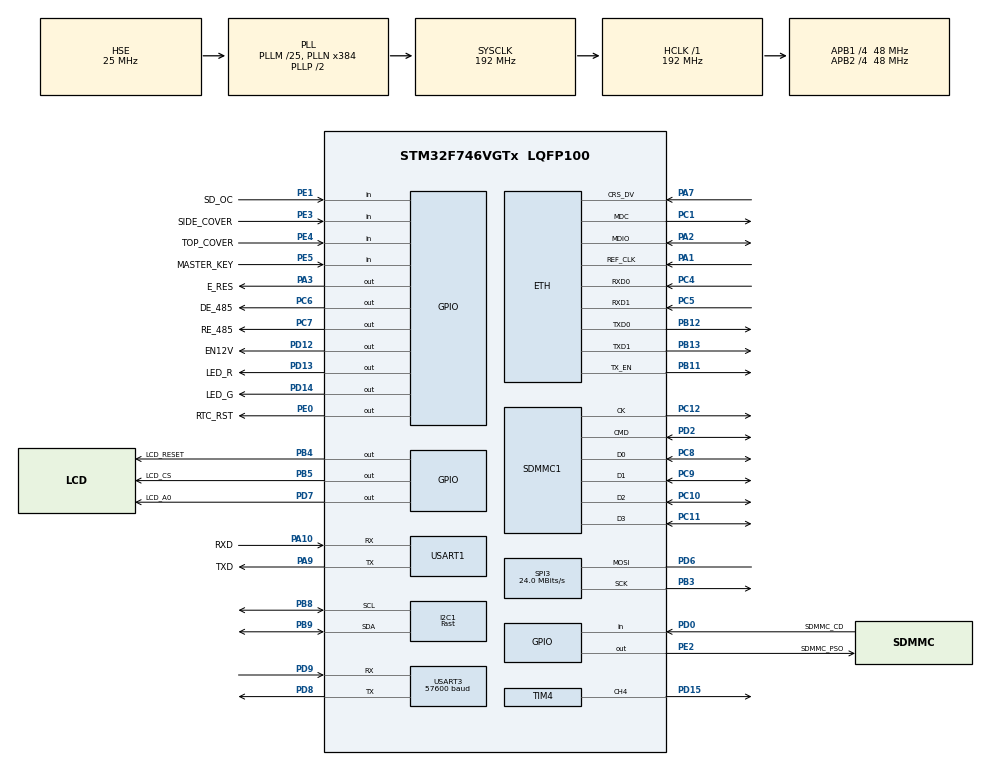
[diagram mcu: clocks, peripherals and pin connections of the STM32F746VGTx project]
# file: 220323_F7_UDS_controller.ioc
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CORTEX_M7.ART_ACCLERATOR_ENABLE=1
CORTEX_M7.AccessPermission-Cortex_Memory_Protection_Unit_Region0_Settings=MPU_REGION_FULL_ACCESS
CORTEX_M7.BaseAddress-Cortex_Memory_Protection_Unit_Region0_Settings=0x20010000
CORTEX_M7.CPU_DCache=Enabled
CORTEX_M7.CPU_ICache=Enabled
CORTEX_M7.Enable-Cortex_Memory_Protection_Unit_Region0_Settings=MPU_REGION_ENABLE
CORTEX_M7.IsCacheable-Cortex_Memory_Protection_Unit_Region0_Settings=MPU_ACCESS_CACHEABLE
CORTEX_M7.MPU_Control=MPU_PRIVILEGED_DEFAULT
CORTEX_M7.PREFETCH_ENABLE=1
CORTEX_M7.Size-Cortex_Memory_Protection_Unit_Region0_Settings=MPU_REGION_SIZE_4KB
ETH.MACAddr=00\:80\:E1\:00\:00\:00
ETH.MediaInterface=ETH_MEDIA_INTERFACE_RMII
ETH.PhyAddress=1
ETH.RxMode=ETH_RXINTERRUPT_MODE
FATFS.BSP.number=1
FATFS0.BSP.STBoard=false
FATFS0.BSP.api=Unknown
FATFS0.BSP.i2caddr=0
FATFS0.BSP.instance=PD0
FATFS0.BSP.ip=GPIO
FATFS0.BSP.mode=Input
FATFS0.BSP.name=Detect_SDIO
FATFS0.BSP.solution=PD0
FREERTOS.HEAP_NUMBER=4
FREERTOS.INCLUDE_vTaskDelayUntil=1
FREERTOS.MEMORY_ALLOCATION=2
FREERTOS.Tasks01=defaultTask,0,512,StartDefaultTask,Default,NULL,Dynamic,NULL,NULL
FREERTOS.configTOTAL_HEAP_SIZE=32000
FREERTOS.configUSE_TIMERS=1
I2C1.I2C_Speed_Mode=I2C_Fast
I2C1.Timing=0x2010091A
IWDG.Prescaler=IWDG_PRESCALER_64
LWIP.DEFAULT_THREAD_STACKSIZE=2048
LWIP.GATEWAY_ADDRESS=192.168.001.100
LWIP.IP_ADDRESS=192.168.001.060
LWIP.LWIP_DHCP=0
LWIP.LWIP_HTTPD=0
LWIP.MEMP_NUM_NETBUF=6
LWIP.MEMP_NUM_NETCONN=8
LWIP.MEMP_NUM_TCPIP_MSG_API=16
LWIP.MEMP_NUM_TCP_PCB=8
LWIP.MEM_SIZE=2048
LWIP.NETMASK_ADDRESS=255.255.255.000
LWIP.SLIPIF_THREAD_STACKSIZE=2048
LWIP.TCPIP_THREAD_STACKSIZE=2048
LWIP.TCP_MSS=720
LWIP.TCP_SND_BUF=1840
LWIP.TCP_WND=4096
LWIP.Version=v2.1.2_Cube
Mcu.Family=STM32F7
Mcu.Name=STM32F746VGTx
Mcu.Package=LQFP100
NVIC.ETH_IRQn=true\:5\:0\:false\:false\:true\:true\:false\:true
NVIC.PriorityGroup=NVIC_PRIORITYGROUP_4
NVIC.TIM5_IRQn=true\:0\:0\:false\:false\:true\:false\:false\:true
NVIC.TimeBase=TIM5_IRQn
NVIC.TimeBaseIP=TIM5
NVIC.USART1_IRQn=true\:5\:0\:false\:false\:true\:true\:true\:true
NVIC.USART3_IRQn=true\:5\:0\:false\:false\:true\:true\:true\:true
PA1.Mode=RMII
PA1.Signal=ETH_REF_CLK
PA10.GPIO_Label=RXD
PA10.Mode=Asynchronous
PA10.Signal=USART1_RX
PA13.Mode=Serial_Wire
PA13.Signal=SYS_JTMS-SWDIO
PA14.Mode=Serial_Wire
PA14.Signal=SYS_JTCK-SWCLK
PA2.Mode=RMII
PA2.Signal=ETH_MDIO
PA3.GPIO_Label=E_RES
PA3.Signal=GPIO_Output
PA7.Mode=RMII
PA7.Signal=ETH_CRS_DV
PA9.GPIO_Label=TXD
PA9.Mode=Asynchronous
PA9.Signal=USART1_TX
PB11.Mode=RMII
PB11.Signal=ETH_TX_EN
PB12.Mode=RMII
PB12.Signal=ETH_TXD0
PB13.Mode=RMII
PB13.Signal=ETH_TXD1
PB3.Mode=Simplex_Bidirectional_Master
PB3.Signal=SPI3_SCK
PB4.GPIO_Label=LCD_RESET
PB4.Signal=GPIO_Output
PB5.GPIO_Label=LCD_CS
PB5.Signal=GPIO_Output
PB8.Mode=I2C
PB8.Signal=I2C1_SCL
PB9.Mode=I2C
PB9.Signal=I2C1_SDA
PC1.Mode=RMII
PC1.Signal=ETH_MDC
PC10.Mode=SD_4_bits_Wide_bus
PC10.Signal=SDMMC1_D2
PC11.Mode=SD_4_bits_Wide_bus
PC11.Signal=SDMMC1_D3
PC12.Mode=SD_4_bits_Wide_bus
PC12.Signal=SDMMC1_CK
PC4.Mode=RMII
PC4.Signal=ETH_RXD0
PC5.Mode=RMII
PC5.Signal=ETH_RXD1
PC6.GPIO_Label=DE_485
PC6.Signal=GPIO_Output
PC7.GPIO_Label=RE_485
PC7.Signal=GPIO_Output
PC8.Mode=SD_4_bits_Wide_bus
PC8.Signal=SDMMC1_D0
PC9.Mode=SD_4_bits_Wide_bus
PC9.Signal=SDMMC1_D1
PD0.GPIO_Label=SDMMC_CD
PD0.Signal=GPIO_Input
PD12.GPIO_Label=EN12V
PD12.Signal=GPIO_Output
PD13.GPIO_Label=LED_R
PD13.Signal=GPIO_Output
PD14.GPIO_Label=LED_G
PD14.Signal=GPIO_Output
PD15.Signal=S_TIM4_CH4
PD2.Mode=SD_4_bits_Wide_bus
PD2.Signal=SDMMC1_CMD
PD6.Mode=Simplex_Bidirectional_Master
PD6.Signal=SPI3_MOSI
PD7.GPIO_Label=LCD_A0
PD7.Signal=GPIO_Output
PD8.Mode=Asynchronous
PD8.Signal=USART3_TX
PD9.Mode=Asynchronous
PD9.Signal=USART3_RX
PE0.GPIO_Label=RTC_RST
PE0.Signal=GPIO_Output
PE1.GPIO_Label=SD_OC
PE1.Signal=GPIO_Input
PE2.GPIO_Label=SDMMC_PSO
PE2.Signal=GPIO_Output
PE3.GPIO_Label=SIDE_COVER
PE3.Signal=GPIO_Input
PE4.GPIO_Label=TOP_COVER
PE4.Signal=GPIO_Input
PE5.GPIO_Label=MASTER_KEY
PE5.Signal=GPIO_Input
PH0/OSC_IN.Mode=HSE-External-Oscillator
PH0/OSC_IN.Signal=RCC_OSC_IN
PH1/OSC_OUT.Mode=HSE-External-Oscillator
PH1/OSC_OUT.Signal=RCC_OSC_OUT
ProjectManager.HeapSize=0x2000
ProjectManager.StackSize=0x4000
ProjectManager.TargetToolchain=MDK-ARM V5
RCC.AHBFreq_Value=192000000
RCC.APB1CLKDivider=RCC_HCLK_DIV4
RCC.APB1Freq_Value=48000000
RCC.APB1TimFreq_Value=96000000
RCC.APB2CLKDivider=RCC_HCLK_DIV4
RCC.APB2Freq_Value=48000000
RCC.APB2TimFreq_Value=96000000
RCC.CortexFreq_Value=192000000
RCC.HCLKFreq_Value=192000000
RCC.HSE_VALUE=25000000
RCC.HSI_VALUE=16000000
RCC.LSE_VALUE=32768
RCC.PLLM=25
RCC.PLLN=384
RCC.PLLQ=8
RCC.PLLSAIP=RCC_PLLSAIP_DIV4
RCC.PLLSourceVirtual=RCC_PLLSOURCE_HSE
RCC.SDMMCClockSelection=RCC_SDMMC1CLKSOURCE_CLK48
RCC.SYSCLKFreq_VALUE=192000000
RCC.SYSCLKSource=RCC_SYSCLKSOURCE_PLLCLK
RCC.USBFreq_Value=48000000
RCC.VCOOutputFreq_Value=384000000
SDMMC1.ClockDiv=6
SH.S_TIM4_CH4.0=TIM4_CH4,PWM Generation4 CH4
SPI3.CalculateBaudRate=24.0 MBits/s
SPI3.DataSize=SPI_DATASIZE_8BIT
SPI3.Direction=SPI_DIRECTION_1LINE
SPI3.Mode=SPI_MODE_MASTER
SPI3.VirtualType=VM_MASTER
TIM4.Channel-PWM\ Generation4\ CH4=TIM_CHANNEL_4
TIM4.Period=500
TIM4.Prescaler=240
USART1.VirtualMode-Asynchronous=VM_ASYNC
USART3.BaudRate=57600
USART3.VirtualMode-Asynchronous=VM_ASYNC
VP_FATFS_VS_SDIO.Mode=SDIO
VP_FREERTOS_VS_CMSIS_V1.Mode=CMSIS_V1
VP_IWDG_VS_IWDG.Mode=IWDG_Activate
VP_LWIP_VS_Enabled.Mode=Enabled
VP_SYS_VS_tim5.Mode=TIM5
VP_TIM4_VS_ClockSourceINT.Mode=Internal
board=custom

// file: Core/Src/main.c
/* USER CODE BEGIN Header */
/**
  ******************************************************************************
  * @file           : main.c
  * @brief          : Main program body
  ******************************************************************************
  * @attention
  *
  * <h2><center>&copy; Copyright (c) 2021 STMicroelectronics.
  * All rights reserved.</center></h2>
  *
  * This software component is licensed by ST under Ultimate Liberty license
  * SLA0044, the "License"; You may not use this file except in compliance with
  * the License. You may obtain a copy of the License at:
  *                             www.st.com/SLA0044
  *
  ******************************************************************************
  */
/* USER CODE END Header */
#include "main.h"
#include "cmsis_os.h"
#include "fatfs.h"
#include "i2c.h"
#include "iwdg.h"
#include "lwip.h"
#include "sdmmc.h"
#include "spi.h"
#include "tim.h"
#include "usart.h"
#include "gpio.h"

/* USER CODE BEGIN Includes */
#include "st7735.h"
#include "DefineFont.h"
#include "delay.h"
#include "stdio.h"
#include "string.h"
#include "flash_memory.h"
/* USER CODE END Includes */

void SystemClock_Config(void);
static void MPU_Config(void);
void MX_FREERTOS_Init(void);

/* USER CODE BEGIN 0 */
char UART3_msg_TX [RS232_BUFFER_SIZE];
char RS485_RXbuffer [RX_BUFFER_SIZE] = {0};
char RS485_TXbuffer [4];

uint8_t cell_state [MAX_SELL+1][5] = {0}; //массив с данными от ячеек
char mod_ip_adress [16]; //ip-адрес в символьной форме (например 192.168.001.060) для регистрации и отображения
/* USER CODE END 0 */

int main(void)
{

  /* MPU Configuration--------------------------------------------------------*/
  MPU_Config();

  /* Enable I-Cache---------------------------------------------------------*/
  SCB_EnableICache();

  /* Enable D-Cache---------------------------------------------------------*/
  SCB_EnableDCache();

  /* MCU Configuration--------------------------------------------------------*/

  /* Reset of all peripherals, Initializes the Flash interface and the Systick. */
  HAL_Init();

  /* Configure the system clock */
  SystemClock_Config();

  /* Initialize all configured peripherals */
  MX_GPIO_Init();
  MX_I2C1_Init();
  MX_USART1_UART_Init();
  MX_USART3_UART_Init();
  MX_SDMMC1_SD_Init();
  MX_FATFS_Init();
  MX_IWDG_Init();
  MX_SPI3_Init();
  MX_TIM4_Init();
  /* USER CODE BEGIN 2 */

	lcdInit();
	ClearLcdMemory();
	LCD_SetFont(Arial_15x17,black);
	LCD_ShowString(5,10,"controller_staring...");
	LCD_Refresh();

	ENABLE_ETHERNET;
	ENABLE_12V;
	RS485_RX; //режим на приём
	ENABLE_SD_CARD;

	if (READ_BIT (RCC->CSR, RCC_CSR_IWDGRSTF)) //если установлен бит IWDGRST (флаг срабатывания IWDG)
  {
		SET_BIT (RCC->CSR, RCC_CSR_RMVF); //сброс флага срабатывания IWDG
  	sprintf (UART3_msg_TX,"UDS_controller_start_after_iwdg_reset\r\n");
  	UART3_SendString ((char*)UART3_msg_TX);
  }
  else
  {
  	sprintf (UART3_msg_TX,"UDS_controller_start\r\n");
		UART3_SendString ((char*)UART3_msg_TX);
  }

  /* USER CODE END 2 */

  /* Call init function for freertos objects (in freertos.c) */
  MX_FREERTOS_Init();
  /* Start scheduler */
  osKernelStart();

  /* We should never get here as control is now taken by the scheduler */
  /* Infinite loop */
  while (1)
  {

  }
}

void SystemClock_Config(void)
{
  RCC_OscInitTypeDef RCC_OscInitStruct = {0};
  RCC_ClkInitTypeDef RCC_ClkInitStruct = {0};
  RCC_PeriphCLKInitTypeDef PeriphClkInitStruct = {0};

  /** Configure the main internal regulator output voltage
  */
  __HAL_RCC_PWR_CLK_ENABLE();
  __HAL_PWR_VOLTAGESCALING_CONFIG(PWR_REGULATOR_VOLTAGE_SCALE1);
  /** Initializes the RCC Oscillators according to the specified parameters
  * in the RCC_OscInitTypeDef structure.
  */
  RCC_OscInitStruct.OscillatorType = RCC_OSCILLATORTYPE_LSI|RCC_OSCILLATORTYPE_HSE;
  RCC_OscInitStruct.HSEState = RCC_HSE_ON;
  RCC_OscInitStruct.LSIState = RCC_LSI_ON;
  RCC_OscInitStruct.PLL.PLLState = RCC_PLL_ON;
  RCC_OscInitStruct.PLL.PLLSource = RCC_PLLSOURCE_HSE;
  RCC_OscInitStruct.PLL.PLLM = 25;
  RCC_OscInitStruct.PLL.PLLN = 384;
  RCC_OscInitStruct.PLL.PLLP = RCC_PLLP_DIV2;
  RCC_OscInitStruct.PLL.PLLQ = 8;
  if (HAL_RCC_OscConfig(&RCC_OscInitStruct) != HAL_OK)
  {
    Error_Handler();
  }
  /** Activate the Over-Drive mode
  */
  if (HAL_PWREx_EnableOverDrive() != HAL_OK)
  {
    Error_Handler();
  }
  /** Initializes the CPU, AHB and APB buses clocks
  */
  RCC_ClkInitStruct.ClockType = RCC_CLOCKTYPE_HCLK|RCC_CLOCKTYPE_SYSCLK
                              |RCC_CLOCKTYPE_PCLK1|RCC_CLOCKTYPE_PCLK2;
  RCC_ClkInitStruct.SYSCLKSource = RCC_SYSCLKSOURCE_PLLCLK;
  RCC_ClkInitStruct.AHBCLKDivider = RCC_SYSCLK_DIV1;
  RCC_ClkInitStruct.APB1CLKDivider = RCC_HCLK_DIV4;
  RCC_ClkInitStruct.APB2CLKDivider = RCC_HCLK_DIV4;

  if (HAL_RCC_ClockConfig(&RCC_ClkInitStruct, FLASH_LATENCY_6) != HAL_OK)
  {
    Error_Handler();
  }
  PeriphClkInitStruct.PeriphClockSelection = RCC_PERIPHCLK_USART1|RCC_PERIPHCLK_USART3
                              |RCC_PERIPHCLK_I2C1|RCC_PERIPHCLK_SDMMC1
                              |RCC_PERIPHCLK_CLK48;
  PeriphClkInitStruct.Usart1ClockSelection = RCC_USART1CLKSOURCE_PCLK2;
  PeriphClkInitStruct.Usart3ClockSelection = RCC_USART3CLKSOURCE_PCLK1;
  PeriphClkInitStruct.I2c1ClockSelection = RCC_I2C1CLKSOURCE_PCLK1;
  PeriphClkInitStruct.Clk48ClockSelection = RCC_CLK48SOURCE_PLL;
  PeriphClkInitStruct.Sdmmc1ClockSelection = RCC_SDMMC1CLKSOURCE_CLK48;
  if (HAL_RCCEx_PeriphCLKConfig(&PeriphClkInitStruct) != HAL_OK)
  {
    Error_Handler();
  }
}

/* MPU Configuration */

void MPU_Config(void)
{
  MPU_Region_InitTypeDef MPU_InitStruct = {0};

  /* Disables the MPU */
  HAL_MPU_Disable();
  /** Initializes and configures the Region and the memory to be protected
  */
  MPU_InitStruct.Enable = MPU_REGION_ENABLE;
  MPU_InitStruct.Number = MPU_REGION_NUMBER0;
  MPU_InitStruct.BaseAddress = 0x20010000;
  MPU_InitStruct.Size = MPU_REGION_SIZE_4KB;
  MPU_InitStruct.SubRegionDisable = 0x0;
  MPU_InitStruct.TypeExtField = MPU_TEX_LEVEL0;
  MPU_InitStruct.AccessPermission = MPU_REGION_FULL_ACCESS;
  MPU_InitStruct.DisableExec = MPU_INSTRUCTION_ACCESS_ENABLE;
  MPU_InitStruct.IsShareable = MPU_ACCESS_NOT_SHAREABLE;
  MPU_InitStruct.IsCacheable = MPU_ACCESS_CACHEABLE;
  MPU_InitStruct.IsBufferable = MPU_ACCESS_NOT_BUFFERABLE;

  HAL_MPU_ConfigRegion(&MPU_InitStruct);
  /* Enables the MPU */
  HAL_MPU_Enable(MPU_PRIVILEGED_DEFAULT);

}
void HAL_TIM_PeriodElapsedCallback(TIM_HandleTypeDef *htim)
{
  if (htim->Instance == TIM5) {
    HAL_IncTick();
  }
}

void Error_Handler(void)
{
  __disable_irq();
  while (1)
  {
  }
}

/************************ (C) COPYRIGHT STMicroelectronics *****END OF FILE****/

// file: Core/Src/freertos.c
/* USER CODE BEGIN Header */
/**
  ******************************************************************************
  * File Name          : freertos.c
  * Description        : Code for freertos applications
  ******************************************************************************
  * @attention
  *
  * <h2><center>&copy; Copyright (c) 2021 STMicroelectronics.
  * All rights reserved.</center></h2>
  *
  * This software component is licensed by ST under Ultimate Liberty license
  * SLA0044, the "License"; You may not use this file except in compliance with
  * the License. You may obtain a copy of the License at:
  *                             www.st.com/SLA0044
  *
  ******************************************************************************
  */
/* USER CODE END Header */

#include "FreeRTOS.h"
#include "task.h"
#include "main.h"
#include "cmsis_os.h"

/* USER CODE BEGIN Includes */
#include "lwip/opt.h"
#include "lwip/arch.h"
#include "lwip/api.h"
#include "lwip/apps/fs.h"
#include "lwip.h"

#include "iwdg.h"
#include "tim.h"
#include "stdio.h"
#include "string.h"
#include "usart.h"
#include "gpio.h"
#include "flash_memory.h"
#include "myWeb.h"
#include "st7735.h"
#include "rtc.h"
/* USER CODE END Includes */

/* USER CODE BEGIN Variables */
extern char UART3_msg_TX [RS232_BUFFER_SIZE];
extern char RS485_TXbuffer [4];
extern uint8_t cell_state [MAX_SELL+1][5];

extern uint8_t IP_ADDRESS[4]; //установленный ip-адрес в виде четырёх uint8_t (lwip.c)
extern char mod_ip_adress [16]; //ip-адрес в символьной форме (например 192.168.001.060) для регистрации и отображения

const char httpHeader[] = "HTTP/1.1 200 OK\nContent-type: text/plain\n\n" ;  // HTTP-заголовок

uint8_t flag_masterkey = 0; //флаг срабатывания мастер ключа
const size_t time_size = 6; //размер буфера для сохранения показателей времени/даты

typedef struct
{
  uint8_t temperature;
  uint8_t RTC_data [time_size];
	} get_RTC_data ; //структура с данными, полученными от микросхемы RTC

char http_send_buffer [400]; //буффер, в который записывается сформированный http-ответ

osTimerId osProgTimerIWDG;  //программный таймер перезагружающий сторожевик
osTimerId osProgTimerBeeper;  //программный таймер отключающий бипер
osTimerId osProgTimerMasterKey;  //программный таймер выключающий соленоиды

osMutexId mutex_RS485_Handle; //мьютекс блокировки передачи команд ячейкам

osMessageQId HTTP_msg_Queue; //очередь в которую передаётся указатель на полученный HTTP-запрос
osMessageQId HTTP_answer_Queue; //очередь в которую передаётся указатель на сформированный HTTP-ответ
osMessageQId Cell_msg_Queue; //очередь в которую передаётся код команды ячейкам
osMessageQId Master_Key_Queue; //очередь в которую передаётся команды управления ячейками по результатам обработки состояния мастер-ключа
osMessageQId Ip_adress_Queue;
osMessageQId RTC_typedata_Queue;
osMessageQId RS485_msg_Queue;

osThreadId Task_Switch_Led_Handle;
osThreadId Task_Parse_HTTP_msg_Handle;
osThreadId Task_Parsing_Cell_command_Handle;
osThreadId Task_Ping_All_Sell_Handle;
osThreadId Task_Read_Keys_MasterCell_Handle;
osThreadId Task_MasterCell_Switcher_Handle;
osThreadId Task_RTC_get_time_Handle;
osThreadId Task_Set_New_IP_Handle;
osThreadId Task_Show_LCD_Handle;
/* USER CODE END Variables */
osThreadId defaultTaskHandle;

/* USER CODE BEGIN FunctionPrototypes */
void ProgTimerIWDGCallback(void const *argument);
void ProgTimerBeeperCallback(void const *argument);
void ProgTimerMasterKeyCallback (void const *argument);

void Switch_Led (void const * argument);
void Parse_HTTP_msg (void const * argument);
void Parsing_Cell_command (void const * argument);
void Ping_All_Sell (void const * argument);
void Read_Keys_MasterCell (void const * argument);
void MasterCell_Switcher (void const * argument);
void RTC_get_time (void const * argument);
void Set_New_IP (void const * argument);
void Show_LCD (void const * argument);
/* USER CODE END FunctionPrototypes */

void StartDefaultTask(void const * argument);

extern void MX_LWIP_Init(void);
void MX_FREERTOS_Init(void); /* (MISRA C 2004 rule 8.1) */

/* GetIdleTaskMemory prototype (linked to static allocation support) */
void vApplicationGetIdleTaskMemory( StaticTask_t **ppxIdleTaskTCBBuffer, StackType_t **ppxIdleTaskStackBuffer, uint32_t *pulIdleTaskStackSize );

/* GetTimerTaskMemory prototype (linked to static allocation support) */
void vApplicationGetTimerTaskMemory( StaticTask_t **ppxTimerTaskTCBBuffer, StackType_t **ppxTimerTaskStackBuffer, uint32_t *pulTimerTaskStackSize );

/* USER CODE BEGIN GET_IDLE_TASK_MEMORY */
static StaticTask_t xIdleTaskTCBBuffer;
static StackType_t xIdleStack[configMINIMAL_STACK_SIZE];

void vApplicationGetIdleTaskMemory( StaticTask_t **ppxIdleTaskTCBBuffer, StackType_t **ppxIdleTaskStackBuffer, uint32_t *pulIdleTaskStackSize )
{
  *ppxIdleTaskTCBBuffer = &xIdleTaskTCBBuffer;
  *ppxIdleTaskStackBuffer = &xIdleStack[0];
  *pulIdleTaskStackSize = configMINIMAL_STACK_SIZE;
  /* place for user code */
}
/* USER CODE END GET_IDLE_TASK_MEMORY */

/* USER CODE BEGIN GET_TIMER_TASK_MEMORY */
static StaticTask_t xTimerTaskTCBBuffer;
static StackType_t xTimerStack[configTIMER_TASK_STACK_DEPTH];

void vApplicationGetTimerTaskMemory( StaticTask_t **ppxTimerTaskTCBBuffer, StackType_t **ppxTimerTaskStackBuffer, uint32_t *pulTimerTaskStackSize )
{
  *ppxTimerTaskTCBBuffer = &xTimerTaskTCBBuffer;
  *ppxTimerTaskStackBuffer = &xTimerStack[0];
  *pulTimerTaskStackSize = configTIMER_TASK_STACK_DEPTH;
  /* place for user code */
}
/* USER CODE END GET_TIMER_TASK_MEMORY */

void MX_FREERTOS_Init(void) {

  /* USER CODE BEGIN RTOS_MUTEX */
	osMutexDef (mutex_RS485);
	mutex_RS485_Handle = osMutexCreate(osMutex (mutex_RS485));
  /* USER CODE END RTOS_MUTEX */

  /* USER CODE BEGIN RTOS_TIMERS */

  osTimerDef (TimerIWDG, ProgTimerIWDGCallback);
	osProgTimerIWDG = osTimerCreate(osTimer (TimerIWDG), osTimerPeriodic, NULL);

	osTimerDef (TimerBeeper, ProgTimerBeeperCallback);
	osProgTimerBeeper = osTimerCreate(osTimer (TimerBeeper), osTimerOnce, NULL);

	osTimerDef (TimerMasterKey, ProgTimerMasterKeyCallback);
	osProgTimerMasterKey = osTimerCreate(osTimer (TimerMasterKey), osTimerOnce, NULL);
  /* USER CODE END RTOS_TIMERS */

  /* USER CODE BEGIN RTOS_QUEUES */
  osMessageQDef (HTTP_msg_Queuename, 3, uint8_t *);
	HTTP_msg_Queue = osMessageCreate (osMessageQ (HTTP_msg_Queuename), NULL); ///очередь для передачи указателя на полученное http-сообщение

	osMessageQDef (HTTP_answer_Queuename, 4, uint8_t *);
	HTTP_answer_Queue = osMessageCreate (osMessageQ (HTTP_answer_Queuename), NULL); ///очередь для передачи указателя на сформированное http-сообщение

	osMessageQDef (Cell_msg_Queuename, 2, uint16_t);
	Cell_msg_Queue = osMessageCreate (osMessageQ (Cell_msg_Queuename), NULL); //очередь для кода команды управления ячейками

	osMessageQDef (Master_Key_Queuename, 1, uint8_t);
	Master_Key_Queue = osMessageCreate (osMessageQ (Master_Key_Queuename), NULL); //очередь для команд управления ячейками от мастерключа

	osMessageQDef (Ip_adress_Queuename, 2, uint8_t *);
	Ip_adress_Queue = osMessageCreate (osMessageQ (Ip_adress_Queuename), NULL); //очередь для передачи полученного ip-адреса

	osMessageQDef(RTC_typedata_Queuename, 2, uint8_t);
	RTC_typedata_Queue = osMessageCreate (osMessageQ (RTC_typedata_Queuename), NULL); //очередь для передачи типа запрашиваемых RTC данных

	osMessageQDef (RS485_msg_Queuename, 2, uint8_t *);
	RS485_msg_Queue = osMessageCreate (osMessageQ (RS485_msg_Queuename), NULL); //очередь для передачи полученного по RS-485 сообщения

  /* USER CODE END RTOS_QUEUES */

  /* Create the thread(s) */
  /* definition and creation of defaultTask */
  osThreadDef(defaultTask, StartDefaultTask, osPriorityNormal, 0, 512);
  defaultTaskHandle = osThreadCreate(osThread(defaultTask), NULL);

  /* USER CODE BEGIN RTOS_THREADS */
	osThreadDef (Task_Parse_HTTP_msg, Parse_HTTP_msg, osPriorityNormal, 0, 1024);
	Task_Parse_HTTP_msg_Handle = osThreadCreate(osThread(Task_Parse_HTTP_msg), NULL);

	osThreadDef (Task_Switch_Led, Switch_Led, osPriorityLow, 0, 128);
	Task_Switch_Led_Handle = osThreadCreate(osThread(Task_Switch_Led), NULL);

  osThreadDef (Task_Parsing_Cell_command, Parsing_Cell_command, osPriorityNormal, 0, 512);
	Task_Parsing_Cell_command_Handle = osThreadCreate(osThread(Task_Parsing_Cell_command), NULL);

	osThreadDef (Task_Ping_All_Sell, Ping_All_Sell, osPriorityNormal, 0, 384);
	Task_Ping_All_Sell_Handle = osThreadCreate (osThread (Task_Ping_All_Sell), NULL);

	osThreadDef (Task_Read_Keys_MasterCell, Read_Keys_MasterCell, osPriorityBelowNormal, 0, 128);
	Task_Read_Keys_MasterCell_Handle = osThreadCreate (osThread (Task_Read_Keys_MasterCell), NULL);

	osThreadDef (Task_MasterCell_Switcher, MasterCell_Switcher, osPriorityNormal, 0, 128);
	Task_MasterCell_Switcher_Handle = osThreadCreate (osThread (Task_MasterCell_Switcher), NULL);

	osThreadDef (Task_RTC_get_time, RTC_get_time, osPriorityNormal, 0, 128);
	Task_RTC_get_time_Handle = osThreadCreate (osThread (Task_RTC_get_time), NULL);

	osThreadDef (Task_Set_New_IP, Set_New_IP, osPriorityNormal, 0, 128);
	Task_Set_New_IP_Handle = osThreadCreate (osThread (Task_Set_New_IP), NULL);

	osThreadDef (Task_Show_LCD, Show_LCD, osPriorityLow, 0, 128);
	Task_Show_LCD_Handle = osThreadCreate (osThread (Task_Show_LCD), NULL);

  /* USER CODE END RTOS_THREADS */

}

/* USER CODE BEGIN Header_StartDefaultTask */
//************************************************открытие и прослушивание tcp-соединения************************************************//
/**
  * @brief  Function implementing the defaultTask thread.
  * @param  argument: Not used
  * @retval None
  */
/* USER CODE END Header_StartDefaultTask */
void StartDefaultTask(void const * argument)
{
  /* init code for LWIP */
  MX_LWIP_Init();
  /* USER CODE BEGIN StartDefaultTask */
  /* Infinite loop */
	convert_ip (mod_ip_adress, IP_ADDRESS);

	TIM4->CCR4 = 50; //ширина импульса шим = 1/2Т
	osTimerStart(osProgTimerIWDG, 2000); //запуск циклического таймера

 	struct netconn *conn; //указатель на переменную структуры соединения
	struct netconn *newconn;  //структура соединения для входящего подключения
	struct netbuf *inbuffer; //структура для приёмного буффера

	char http_put_buffer [450]; //буффер, в который формируется http-ответ
	char * http_answer; //указатель на буффер сформированного http-сообщения
	char* ptr_http_msg; //указатель на полученное http-сообщение

	volatile err_t err, rcv_err; //переменная ошибки
	uint16_t len; //количество символов в сообщении

	osEvent event;

	if ((conn = netconn_new(NETCONN_TCP)) != NULL) //новое TCP соединение, если нет ошибок установки соединения
	{
		if ((err = netconn_bind(conn, NULL, 25006)) == ERR_OK) //привязка *conn к определенному IP-адресу и порту
    {
      netconn_listen(conn); //прослушка порта в бесконечном цикле
			while (1)
			{
				if ((err = netconn_accept(conn, &newconn)) == ERR_OK) //разрешение на приём нового tcp-соединения в сети прослушивания
				{
					if ((rcv_err = netconn_recv(newconn, &inbuffer)) == ERR_OK) //если tcp-сообщение принято без ошибок
					{
//					osTimerStart(osProgTimerBeeper, 250);
//					HAL_TIM_PWM_Start(&htim4, TIM_CHANNEL_4); //писк бипером
						netbuf_data(inbuffer, (void**)&ptr_http_msg, &len); //копирование полученного http-сообщения
						osMessagePut (HTTP_msg_Queue, (uint32_t)ptr_http_msg, 10); //передача в очередь указателя на полученное http-сообщение
						event = osMessageGet(HTTP_answer_Queue, 100); //ожидание появления данных в очереди
						if (event.status == osEventMessage) //если данные для ответного http-сообщения появились в очереди
						{
							http_answer = (char *)event.value.v; //копирование данных для ответного http-сообщения
							sprintf (http_put_buffer, "%s", httpHeader); //добавление заголовка в ответное http-сообщение
							strcat (http_put_buffer,  http_answer); //добавление тела http-сообщения
							netconn_write(newconn, http_put_buffer, strlen(http_put_buffer), NETCONN_NOFLAG); //отправка ответного http-сообщения клиенту
						}
					}
					netbuf_delete(inbuffer); //очистка входного буффера
					netconn_close(newconn); //закрытие соединения
					netconn_delete(newconn); //очистка соединения
				}
				osDelay(10);
			}
		}
		else
		{
			UART3_SendString((char*)"can_not_bind_TCP_netconn\r\n"); //если произошла ошибка задания соединению к ip-адресу и порте
			UART3_SendString ((char*)UART3_msg_TX);
			netconn_delete(newconn); //то удаление структуры
		}
	}
	else
	{
		UART3_SendString((char*)"can not create TCP netconn\r\n");
		UART3_SendString ((char*)UART3_msg_TX);
	}
  /* USER CODE END StartDefaultTask */
}

/* USER CODE BEGIN Application */
//************************************************мигание светодиодом************************************************//
void Switch_Led (void const * argument)
{
	for(;;)
  {
		LED_RED (1);
		osDelay (1000);
		LED_RED (0);
		osDelay (1000);
	}
}

//************************************************парсинг tcp-сообщения и передача полученных данных другим задачам************************************************//
void Parse_HTTP_msg (void const * argument)
{
	char * http_get_data; //полученный код команды из очереди
	osEvent event;
	RELEASE_DATA parse_output;
	RELEASE_DATA *ptr_data = &parse_output;
	signed short buf = 0; //буфер для хранения кода команды
	char * tmp;

  for(;;)
  {
		event = osMessageGet(HTTP_msg_Queue, 50); //ожидание появления данных в очереди
		if (event.status == osEventMessage) //если данные появились в очереди
		{
			http_get_data = (char *)event.value.v;
			parse_output.RTC_setting[0] = 0; //первый элемент массива адрес регистра RTC
			Read_TCP_Message (http_get_data, ptr_data); //получение структуры от корректированных данных
			buf = ptr_data->type_data; //считывание идентификатора сообщения
			if (buf > 0)
			{
				if ((buf > 100) && (buf < 400)) //больше 100 и меньше 400 это команды в ячейку
				{
					osMessagePut(Cell_msg_Queue, buf, 10); //передача команды управления ячейкой таску Parsing_Cell_command
				}
				else
				{
					if ((buf > 0) && (buf < 100))
					{
						switch (buf)
						{
							case 1: //если запрос времени и даты
								osMessagePut (RTC_typedata_Queue, (uint32_t)buf, 10); //передача команды запроса времени/температуры задаче RTC_get_time
								break;

							case 2: //если запрос температуры
								osMessagePut (RTC_typedata_Queue, (uint32_t)buf, 10); //передача команды запроса времени/температуры задаче RTC_get_time
								break;

							case 3: //если установка времени
								SetTime (RTC_ADDRESS,  0x0, ptr_data->RTC_setting);
								buf = 1;
								osMessagePut (RTC_typedata_Queue, (uint32_t)buf, 10); //передача команды запроса времени/температуры задаче RTC_get_time
								break;

							case 4: //если установка даты
								SetTime (RTC_ADDRESS,  0x4, ptr_data->RTC_setting);
								buf = 1;
								osMessagePut (RTC_typedata_Queue, (uint32_t)buf, 10); //передача команды запроса времени/температуры задаче RTC_get_time
								break;

							case 5: //если установка ip-адреса
								osMessagePut(Ip_adress_Queue, (uint32_t)ptr_data->new_ipadress, 10); //передача полученного для установке ip-адреса задаче Set_New_IP
								break;

							default:
								break;
						}
					}
				}
			}
			else //подготовка ответа при некорректном запросе
			{
				tmp=strchr(ptr_data->answerbuf,'&');				// поиск первого символа '&'
				if(tmp != 0)
				{
					tmp = tmp+1; //сдвиг указателя на один символ влево от '&'
					sprintf (http_send_buffer, "stoika=%s_result&%s\r\n", mod_ip_adress, tmp); //формирования сообщения
					osMessagePut (HTTP_answer_Queue, (uint32_t)http_send_buffer, 10); //указатель на ответное http-сообщение в очередь для задачи StartDefaultTask
				}
				else
				{
					osMessagePut (HTTP_answer_Queue, (uint32_t)ptr_data->answerbuf, 10); //на всякий случай
				}
			}
		}
		osThreadYield (); //Передача управление следующему потоку с наивысшем приоритетом, который находится в состоянии ГОТОВ
	}
}

//************************************************формирование команды для ячеек по результатам парсинга tcp-сообщения************************************************//
void Parsing_Cell_command (void const * argument)
{
	osEvent event1, event2;
	uint16_t number_cell = 0; //номер ячейки в числовой форме
	uint8_t adress_cell [] = {'0', '0', '0'}; //номер ячейки  в символьной форме

	uint16_t command = 0; //шифр полученной команды (тип команды + номер ячейки)
	uint8_t typecommand = 0; //тип отправляемой команды

	char tmp_buffer [15] = {0}; //времменный буфер-массив
	uint8_t * ptr_RS485_buffer; //указатель на принятое сообщение по RS-485 (UART1_msg_RX [6])

	RS485_TXbuffer [0] = 0x2; //1 байт при передаче от контроллера к ячейки всегда равен числу 2

  for(;;)
  {
		event1 = osMessageGet(Cell_msg_Queue, 50); //ожидание появления данных в очереди
		if (event1.status == osEventMessage) //если данные появились в очереди
		{
			command = event1.value.v; //получение сообщения
			http_send_buffer [0] = '\0';
			if (command == 200) //если тип команды - широковещательный state
			{
				sprintf (http_send_buffer,"stoika=%s&state=ok\r\n", mod_ip_adress);
				for (size_t count = 0; count <= MAX_SELL; count++)
				{
					ptr_RS485_buffer = &cell_state [count][0];	//указатель на массив с данными состояния ячеек
					if (count != MAX_SELL) //если это ячейки с 1 по MAX_SELL
					{
						adress_cell[1] = ((count+1)/10 + 0x30); //установка номера ячейки
						adress_cell[2] = ((count+1)%10 + 0x30);
						if (cell_state [count][0] != 0) //если от ячейки получены данные состояния
						{
							sprintf  (tmp_buffer, "cell_%c%c=%c,%c,%c,%c,%c\r\n",  adress_cell[1], adress_cell[2], *ptr_RS485_buffer, *(ptr_RS485_buffer+1), *(ptr_RS485_buffer+2), *(ptr_RS485_buffer+3), *(ptr_RS485_buffer+4));
							strcat (http_send_buffer, tmp_buffer);
						}
						else	//если данные не получены от ячейки
						{
							sprintf (tmp_buffer, "cell_%c%c=no\r\n", adress_cell[1], adress_cell[2]);
							strcat (http_send_buffer, tmp_buffer);
						}
					}
					else //если это мастер-ячейка
					{
						adress_cell[0] = '1';
						adress_cell[1] = '4'; //присвоим мастер-ячейке 14 номер
						sprintf (tmp_buffer, "cell_%c%c=%c,%c,%c,%c,%c\r\n", adress_cell[0], adress_cell[1], *(ptr_RS485_buffer), *(ptr_RS485_buffer+1), *(ptr_RS485_buffer+2), *(ptr_RS485_buffer+3),  *(ptr_RS485_buffer+4));
						strcat (http_send_buffer, tmp_buffer);
					}
				}
				osMessagePut (HTTP_answer_Queue, (uint32_t)http_send_buffer, 10); //передача в очередь указателя на полученное сообщение
			}
			else
			{
				RS485_TXbuffer [3] = command/100 + 0x30; //шифр комманды
				if (RS485_TXbuffer [3] == '3') //если зашифрована команда close
					RS485_TXbuffer [3] = '0'; //передадим символ 0
				typecommand = RS485_TXbuffer [3]-0x30; //запоминание типа полученной команды
				number_cell =  command % 100; //номер ячейки

				adress_cell [1] = RS485_TXbuffer [1] = (number_cell/10 + 0x30); //старший символ номера ячейки
				adress_cell [2] = RS485_TXbuffer [2] = (number_cell%10 + 0x30); //младший символ номера ячейки

				PutCommandToCell (RS485_TXbuffer); //отправка команды ячейке по RS-485

				switch (typecommand)
				{
					case 0: //если запрос типа close ячейки
						sprintf (http_send_buffer,"stoika=%s&close_port=%s&result=accepted", mod_ip_adress, adress_cell);
						event2 = osMessageGet(RS485_msg_Queue, 4); //ожидание появления данных в очереди
					if (event2.status == osEventMessage) //если данные появились в очереди (ответ на команду close, сейчас я их не использую)
						{
						 (void)event2.value.v;
						}
						osMessagePut (HTTP_answer_Queue, (uint32_t)http_send_buffer, 10); //передача в очередь указателя на сформированный ответ
						break;

					case 1: //если запрос типа open ячейки
						sprintf (http_send_buffer,"stoika=%s&open_port=%s&result=accepted", mod_ip_adress, adress_cell);
						event2 = osMessageGet(RS485_msg_Queue, 4); //ожидание появления данных в очереди
						if (event2.status == osEventMessage) //если данные появились в очереди (ответ на команду open, сейчас я их не использую)
						{
							(void)event2.value.v;
						}
						osMessagePut (HTTP_answer_Queue, (uint32_t)http_send_buffer, 10); //передача в очередь указателя на сформированный ответ
						break;

					case 2: //если запрос типа state ячейки
						sprintf (http_send_buffer,"stoika=%s&state=ok", mod_ip_adress);
						ptr_RS485_buffer = &cell_state [number_cell-1][0];	//указатель на массив с данными состояния ячеек
						if (*ptr_RS485_buffer != 0) //если есть данные от ячейки
						{
							sprintf  (tmp_buffer, "&cell_%s=%c,%c,%c,%c,%c", adress_cell, *ptr_RS485_buffer, *(ptr_RS485_buffer + 1), *(ptr_RS485_buffer + 2), *(ptr_RS485_buffer + 3), *(ptr_RS485_buffer + 4));
							strcat (http_send_buffer, tmp_buffer);
							osMessagePut (HTTP_answer_Queue, (uint32_t)http_send_buffer, 10); //передача в очередь указателя на полученное сообщение
						}
						else	 //если не получен ответ от ячейки
						{
							sprintf (tmp_buffer, "&cell_%s=no", adress_cell);
							strcat (http_send_buffer, tmp_buffer);
							osMessagePut (HTTP_answer_Queue, (uint32_t)http_send_buffer, 10); //передача в очередь указателя на полученное сообщение
						}
						break;

					default:
						break;
				}
			}
		}
		osThreadYield ();
	}
}

//************************************************периодическая отправка всем ячейкам запроса типа state************************************************//
void Ping_All_Sell (void const * argument)
{
	osEvent event;
	uint8_t * ptr_RS485_msg; //указатель на принятое сообщение по RS-485 (UART1_msg_RX)

	for (;;)
	{
		RS485_TXbuffer [3] = '2'; //передача запроса типа 'state'
		for (size_t count = 0; count < MAX_SELL; count++) //опрос ячеек
		{
			RS485_TXbuffer [1] = ((count+1)/10 + 0x30); //старший символ номера ячейки
			RS485_TXbuffer [2] = ((count+1)%10 + 0x30); //младший символ номера ячейки

			if (osMutexWait (mutex_RS485_Handle, 20) == osOK) //ожидание и захват мьютекса в течение xx мс
			{
				PutCommandToCell (RS485_TXbuffer);

				event = osMessageGet(RS485_msg_Queue, 2); //ожидание появления данных в очереди
				if (event.status == osEventMessage) //если данные появились в очереди
				{
					ptr_RS485_msg = (uint8_t *)event.value.v;
					memcpy ((cell_state + count), (ptr_RS485_msg+1), 5); //копирование 5 символов сообщения от ячейки, начиная с 2 элемента
				}
				else //если не получен ответ от ячейки
				{
					cell_state [count][0] = 0;
				}
				osMutexRelease (mutex_RS485_Handle);
			}
		}
		osDelay (20);
	}
}

/************************************************чтение микриков 14 ячейки************************************************/
void Read_Keys_MasterCell (void const * argument)
{
	cell_state [MAX_SELL][4] = cell_state [MAX_SELL][0] = '0'; //обнуление 0 и 4 бита мастер-ячейки
	uint16_t status_inputs = 0;
	uint16_t old_status_inputs = 0;
	uint8_t MasterKeyStatus = (((READ_BIT(GPIOE->IDR, MASTER_KEY_Pin)) >> 4) + 0x30);
	for (;;)
	{
		if ((status_inputs = READ_BIT(GPIOE->IDR,  SIDE_COVER_Pin | MASTER_KEY_Pin | TOP_COVER_Pin)) != old_status_inputs) //если состояние мастер ключей было изменено
		{
			old_status_inputs = status_inputs; //сохраняем состояние
			osDelay (50); //ожидание окончание дребезга
			if ((status_inputs = READ_BIT(GPIOE->IDR,  SIDE_COVER_Pin | MASTER_KEY_Pin | TOP_COVER_Pin)) == old_status_inputs) //если состояние мастер ключей не измененялось за 50 мс
			{
				for (size_t count = 3; count <= 5; count++)
				{
					if (((status_inputs >> count) & 0x1) == 0x0) //если считанный бит равен 0, (контакт замкнут)
						cell_state [MAX_SELL][count - 2] = '1'; //сохраним 1 в буффер состояния ключей
					else
						cell_state [MAX_SELL][count - 2] = '0';
					if (count == 5)  //если это бит состояния мастер ключа
					{
						if (MasterKeyStatus != cell_state [MAX_SELL][count - 2]) //если состояние мк изменилось
						{
							if (cell_state [MAX_SELL][count - 2] ==  '1') //если мастер-ключ был переведён в положение включено
							{
								if (flag_masterkey == 0) //если мастер-ключ не был до этого момента нажат
								{
									flag_masterkey = 1; //поднятие флага о включение мк
									LED_GREEN (1);
									osMessagePut (Master_Key_Queue, 1, 10); //передача в очередь команды на включение соленоидов (1)
								}
							}
							else
							{
								if (cell_state [MAX_SELL][count - 2] == '0') //если мастер-ключ был переведён в положение выключено
								{
									if (flag_masterkey == 1) //если мастер-ключ был до этого момента нажат (flag_masterkey == 1)
									{
										osMessagePut (Master_Key_Queue, 0, 10); //передача в очередь команды на выключение соленоидов (0)
									}
								}
							}
							MasterKeyStatus = cell_state [MAX_SELL][count - 2]; //сохраним новое состояние мк
						}
					}
				}
			}
			else
			{
				osDelay (50);
				continue;
			}
		}
		else
		{
			osDelay (250);
		}
	}
}

/************************************************отправка ячейкам команды типа open************************************************/
void MasterCell_Switcher (void const * argument)
{
	osEvent event;
	uint8_t typecommand;
	for (;;)
	{
		event = osMessageGet(Master_Key_Queue, 70); //ожидание появления данных в очереди
		if (event.status == osEventMessage) //если данные появились в очереди
		{
			typecommand = (uint8_t)event.value.v;
			command_AllCell (typecommand, MAX_SELL); //передача команды всем соленоидам
			if (typecommand == 0) //если была отправлена команда на выключение соленоидов
			{
				osTimerStop (osProgTimerMasterKey); //остановка таймера на выключение соленоидов
				flag_masterkey = 0;
				LED_GREEN (0);
			}
			else //если была отправлена команда на включение соленоидов
			{
				osTimerStart(osProgTimerMasterKey, 30000); //запуск таймера на выключение соленоидов
			}
		}
		osThreadYield ();
	}
}

/************************************************запрос времени/температуры************************************************/
void RTC_get_time (void const * argument)
{
	osEvent event;
	uint8_t reg_adr; //адрес начального регистра с данными времени
	uint8_t type_RTC_data = 0;
	get_RTC_data Time_Data; //инициализация структуры с данными времени и температуры
	get_RTC_data * ptr_RTC_data = &Time_Data; //инициализация указателя на массив с данными времени в числовом виде
	uint8_t time_array [time_size*2] = {0}; //массив с данными времени в символьном виде

	for (;;)
	{
		event = osMessageGet(RTC_typedata_Queue, 50); //ожидание появления данных в очереди
		if (event.status == osEventMessage) //если данные появились в очереди
		{
			type_RTC_data = (uint8_t)event.value.v;
			reg_adr = 0x0; //адрес начального регистра с данными времени
			GetTime (RTC_ADDRESS, reg_adr, 3, ptr_RTC_data -> RTC_data); //чтение регистров 0х0-0х2
			reg_adr = 0x4;
			GetTime (RTC_ADDRESS, reg_adr, 3, (ptr_RTC_data -> RTC_data)+3); //чтение регистров 0х4-0х6 (дата: дд/мм/гг)
			reg_adr = 0x11;
			GetTime (RTC_ADDRESS, reg_adr, 1, &ptr_RTC_data -> temperature); //чтение регистра 0х11 (температура)

			if (type_RTC_data == 1) //если запрос времени и даты
			{
				convert_time (time_size, time_array, ptr_RTC_data -> RTC_data);
				sprintf (http_send_buffer, "stoika=%s&rtcr=_%c%c/%c%c/%c%c_%c%c:%c%c:%c%c\r\n", mod_ip_adress, time_array [6], time_array [7], time_array [8], time_array [9],
				time_array [10], time_array [11], time_array [4], time_array [5], time_array [2], time_array [3], time_array [0], time_array [1]);
				UART3_SendString ((char*)http_send_buffer);
				osMessagePut (HTTP_answer_Queue, (uint32_t)http_send_buffer, 10); //передача в очередь указателя на полученное сообщение
			}
			else
			{
				if (type_RTC_data == 2) //если запрос температуры
				{
					sprintf (http_send_buffer, "stoika=%s&term=%u\r\n", mod_ip_adress, ptr_RTC_data -> temperature);
					osMessagePut (HTTP_answer_Queue, (uint32_t)http_send_buffer, 10); //передача в очередь указателя на полученное сообщение
				}
			}
		}
		osThreadYield ();
	}
}

/************************************************установка ip-адреса************************************************/
void Set_New_IP (void const * argument)
{
	uint8_t * getip;
	osEvent event;

	for (;;)
	{
		event = osMessageGet(Ip_adress_Queue, 50); //ожидание появления данных в очереди
		if (event.status == osEventMessage) //если данные появились в очереди
		{
			getip = (uint8_t *)event.value.v;

			taskENTER_CRITICAL(); //вход в критическую секцию
			write_flash (FLASH_IP_ADDRESS, getip);
			taskEXIT_CRITICAL(); //выход из критической секции

			sprintf (http_send_buffer, "stoika=%s&result=accepted\r\n", mod_ip_adress);
			osMessagePut (HTTP_answer_Queue, (uint32_t)http_send_buffer, 10); //передача в очередь указателя на полученное сообщение
		}
		osThreadYield ();
	}
}

/************************************************вывод данных на LCD-дисплей************************************************/
void Show_LCD (void const * argument)
{

	uint32_t tickcount = osKernelSysTick();
	uint8_t time [time_size]; //массив с данными времени в числовом виде
	uint8_t time_array [time_size*2] = {0}; //массив с данными времени в символьном виде
	char led_buffer [15]; //буффер с конвертированными данными времени в строковом отображении

	uint8_t dimension = 2; //междустрочное растояние

	char tmp_buffer [15]; //временный буффер

	uint8_t adress_cell[2] = {0}; //массив с номером ячейки
	uint8_t * ptr_RS485_buffer; //указатель на массив с принятыми по RS-485 данными

	for (;;)
	{
		GetTime (RTC_ADDRESS,  FIRST_RTC_REGISTR_TIME, time_size/2, time); //чтение регистров 0х0-0х2 со значениями времени (с:м:ч)
		GetTime (RTC_ADDRESS,  FIRST_RTC_REGISTR_DATE, time_size/2, &time[time_size/2]); //чтение регистров 0х4-0х6 со значениями даты (д:м:г)
		convert_time (time_size, time_array, time); //конвертация данных времени в символьный вид
		ClearLcdMemory();

		LCD_SetFont(Arial_15x17, black);
		LCD_ShowString(2, dimension , mod_ip_adress);
		sprintf (led_buffer, "%c%c.%c%c.%c%c %c%c:%c%c:%c%c",  time_array[6],  time_array[7], time_array[8],  time_array[9], time_array[10],
		time_array[11],  time_array[4], time_array[5],  time_array[2], time_array[3],  time_array[0], time_array[1]);
		LCD_ShowString(15, (dimension += 14), led_buffer);

		for (size_t count = 0; count <= MAX_SELL; count++) //опрос ячеек
		{

			ptr_RS485_buffer = &cell_state [count][0];	//указатель на массив с данными состояния ячеек
			if (count != MAX_SELL) //если это ячейки с 1 по MAX_SELL
			{
				adress_cell[0] = ((count+1)/10 + 0x30); //установка номера ячейки
				adress_cell[1] = ((count+1)%10 + 0x30);
				if ((count+1)%2) //если номер ячейки нечётный (1, 3, 5 ... 13)
				{
					if (*(ptr_RS485_buffer) != 0)
						sprintf  (led_buffer, "%s=%c,%c,%c,%c,%c", adress_cell, *(ptr_RS485_buffer), *(ptr_RS485_buffer+1), *(ptr_RS485_buffer+2), *(ptr_RS485_buffer+3),  *(ptr_RS485_buffer+4));
					else
						sprintf (led_buffer, "%c%c=no_data", adress_cell[0], adress_cell[1]);
				}
				else //если номер ячейки чётный (2, 4 ... 12)
				{
					if (*(ptr_RS485_buffer) != 0)
						sprintf (tmp_buffer, " %s=%c,%c,%c,%c,%c", adress_cell, *(ptr_RS485_buffer), *(ptr_RS485_buffer+1), *(ptr_RS485_buffer+2), *(ptr_RS485_buffer+3),  *(ptr_RS485_buffer+4));
					else
						sprintf (tmp_buffer, " %c%c=no_data", adress_cell[0], adress_cell[1]);
					strcat (led_buffer, tmp_buffer); //объединение буфферов двух ячеек в один
					LCD_ShowString(2, (dimension+=14), led_buffer); //вывод на дисплей
					led_buffer [0] = '\0'; //обнуление буффера
				}
			}
			else //если это последняя итерация (мастер-ячейка)
			{
				adress_cell[0] = '1';
				adress_cell[1] = '4'; //присвоим мастер-ячейке 14 номер
				if (led_buffer [0] != '\0') //если в буфере что-то есть
				{
					sprintf (tmp_buffer, " %c%c=%c,%c,%c,%c,%c", adress_cell[0], adress_cell[1], *(ptr_RS485_buffer), *(ptr_RS485_buffer+1), *(ptr_RS485_buffer+3), *(ptr_RS485_buffer+2),  *(ptr_RS485_buffer+4));
					strcat (led_buffer, tmp_buffer); //объединение буфферов двух ячеек в один
				}
				else {
					sprintf (led_buffer, "%c%c=%c,%c,%c,%c,%c", adress_cell[0], adress_cell[1], *(ptr_RS485_buffer), *(ptr_RS485_buffer+1), *(ptr_RS485_buffer+2), *(ptr_RS485_buffer+3),  *(ptr_RS485_buffer+4));}
				LCD_ShowString(2, (dimension+=14), led_buffer);
			}
		}
		LCD_Refresh();
		dimension = 2; //сброс междустрочного расстояния
		osDelayUntil (&tickcount, 1000);
	}
}

/************************************************************************************************/
void ProgTimerIWDGCallback(void const *argument)
{
	HAL_IWDG_Refresh(&hiwdg); //перезагрузка iwdg
}

/************************************************************************************************/
void ProgTimerBeeperCallback(void const *argument)
{
	HAL_TIM_PWM_Stop (&htim4, TIM_CHANNEL_4); //выключение бипера
}

/************************************************************************************************/
void ProgTimerMasterKeyCallback (void const *argument)
{
	osMessagePut (Master_Key_Queue, 0, 10); //передача в очередь команды ячейкам на выключение всех соленоидов(0)
}
/************************************************************************************************/
/* USER CODE END Application */

/************************ (C) COPYRIGHT STMicroelectronics *****END OF FILE****/
